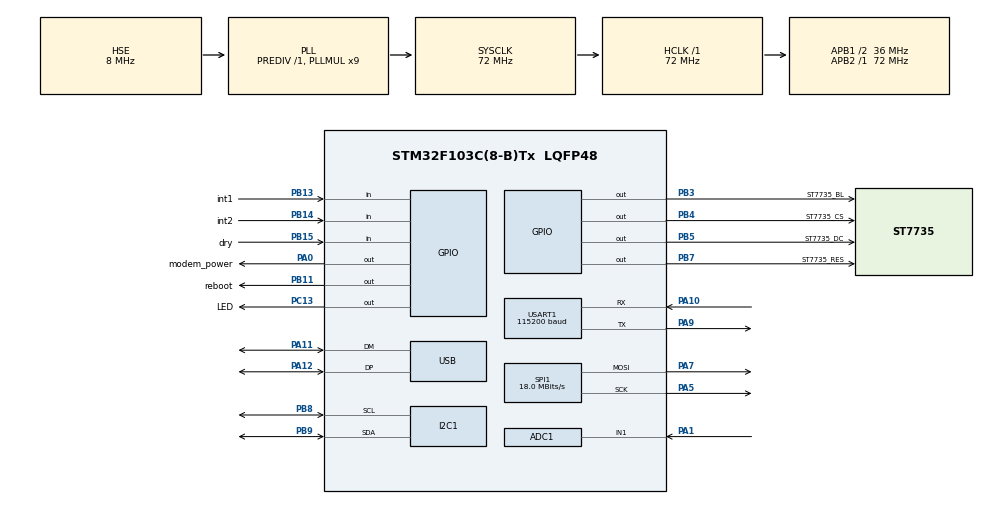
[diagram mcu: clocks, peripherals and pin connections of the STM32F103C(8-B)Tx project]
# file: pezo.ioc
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ADC1.Channel-0\#ChannelRegularConversion=ADC_CHANNEL_1
ADC1.NbrOfConversionFlag=1
ADC1.master=1
Dma.Request0=USART1_RX
Dma.Request1=USART1_TX
Dma.USART1_RX.0.Direction=DMA_PERIPH_TO_MEMORY
Dma.USART1_RX.0.Instance=DMA1_Channel5
Dma.USART1_RX.0.MemDataAlignment=DMA_MDATAALIGN_BYTE
Dma.USART1_RX.0.MemInc=DMA_MINC_ENABLE
Dma.USART1_RX.0.Mode=DMA_NORMAL
Dma.USART1_RX.0.PeriphDataAlignment=DMA_PDATAALIGN_BYTE
Dma.USART1_RX.0.PeriphInc=DMA_PINC_DISABLE
Dma.USART1_RX.0.Priority=DMA_PRIORITY_LOW
Dma.USART1_TX.1.Direction=DMA_MEMORY_TO_PERIPH
Dma.USART1_TX.1.Instance=DMA1_Channel4
Dma.USART1_TX.1.MemDataAlignment=DMA_MDATAALIGN_BYTE
Dma.USART1_TX.1.MemInc=DMA_MINC_ENABLE
Dma.USART1_TX.1.Mode=DMA_NORMAL
Dma.USART1_TX.1.PeriphDataAlignment=DMA_PDATAALIGN_BYTE
Dma.USART1_TX.1.PeriphInc=DMA_PINC_DISABLE
Dma.USART1_TX.1.Priority=DMA_PRIORITY_LOW
Mcu.Family=STM32F1
Mcu.Name=STM32F103C(8-B)Tx
Mcu.Package=LQFP48
NVIC.DMA1_Channel4_IRQn=true\:0\:0\:false\:false\:true\:false\:true\:true
NVIC.DMA1_Channel5_IRQn=true\:0\:0\:false\:false\:true\:false\:true\:true
NVIC.PriorityGroup=NVIC_PRIORITYGROUP_4
NVIC.USART1_IRQn=true\:0\:0\:false\:false\:true\:true\:true\:true
NVIC.USB_LP_CAN1_RX0_IRQn=true\:0\:0\:false\:false\:true\:false\:true\:true
PA0-WKUP.GPIO_Label=modem_power
PA0-WKUP.GPIO_ModeDefaultOutputPP=GPIO_MODE_OUTPUT_OD
PA0-WKUP.GPIO_PuPd=GPIO_NOPULL
PA0-WKUP.Signal=GPIO_Output
PA1.Signal=ADCx_IN1
PA10.Mode=Asynchronous
PA10.Signal=USART1_RX
PA11.Mode=Device
PA11.Signal=USB_DM
PA12.Mode=Device
PA12.Signal=USB_DP
PA13.Mode=Serial_Wire
PA13.Signal=SYS_JTMS-SWDIO
PA14.Mode=Serial_Wire
PA14.Signal=SYS_JTCK-SWCLK
PA5.Mode=TX_Only_Simplex_Unidirect_Master
PA5.Signal=SPI1_SCK
PA7.Mode=TX_Only_Simplex_Unidirect_Master
PA7.Signal=SPI1_MOSI
PA9.Mode=Asynchronous
PA9.Signal=USART1_TX
PB11.GPIO_Label=reboot
PB11.Signal=GPIO_Output
PB13.GPIO_Label=int1
PB13.Signal=GPIO_Input
PB14.GPIO_Label=int2
PB14.Signal=GPIO_Input
PB15.GPIO_Label=dry
PB15.Signal=GPIO_Input
PB3.GPIO_Label=ST7735_BL
PB3.Signal=GPIO_Output
PB4.GPIO_Label=ST7735_CS
PB4.Signal=GPIO_Output
PB5.GPIO_Label=ST7735_DC
PB5.Signal=GPIO_Output
PB7.GPIO_Label=ST7735_RES
PB7.Signal=GPIO_Output
PB8.Mode=I2C
PB8.Signal=I2C1_SCL
PB9.Mode=I2C
PB9.Signal=I2C1_SDA
PC13-TAMPER-RTC.GPIO_Label=LED
PC13-TAMPER-RTC.Signal=GPIO_Output
PC14-OSC32_IN.Mode=LSE-External-Oscillator
PC14-OSC32_IN.Signal=RCC_OSC32_IN
PC15-OSC32_OUT.Mode=LSE-External-Oscillator
PC15-OSC32_OUT.Signal=RCC_OSC32_OUT
PD0-OSC_IN.Mode=HSE-External-Oscillator
PD0-OSC_IN.Signal=RCC_OSC_IN
PD1-OSC_OUT.Mode=HSE-External-Oscillator
PD1-OSC_OUT.Signal=RCC_OSC_OUT
ProjectManager.HeapSize=0x200
ProjectManager.StackSize=0x400
ProjectManager.TargetToolchain=STM32CubeIDE
RCC.ADCPresc=RCC_ADCPCLK2_DIV6
RCC.AHBFreq_Value=72000000
RCC.APB1CLKDivider=RCC_HCLK_DIV2
RCC.APB1Freq_Value=36000000
RCC.APB1TimFreq_Value=72000000
RCC.APB2Freq_Value=72000000
RCC.APB2TimFreq_Value=72000000
RCC.EnbaleCSS=true
RCC.HCLKFreq_Value=72000000
RCC.PLLMUL=RCC_PLL_MUL9
RCC.PLLSourceVirtual=RCC_PLLSOURCE_HSE
RCC.SYSCLKFreq_VALUE=72000000
RCC.SYSCLKSource=RCC_SYSCLKSOURCE_PLLCLK
RCC.USBFreq_Value=48000000
RCC.USBPrescaler=RCC_USBCLKSOURCE_PLL_DIV1_5
SH.ADCx_IN1.0=ADC1_IN1,IN1
SPI1.BaudRatePrescaler=SPI_BAUDRATEPRESCALER_4
SPI1.CalculateBaudRate=18.0 MBits/s
SPI1.Direction=SPI_DIRECTION_2LINES
SPI1.Mode=SPI_MODE_MASTER
SPI1.VirtualType=VM_MASTER
USART1.BaudRate=115200
USART1.VirtualMode=VM_ASYNC
USB_DEVICE.CLASS_NAME_FS=CDC
USB_DEVICE.VirtualMode=Cdc
USB_DEVICE.VirtualModeFS=Cdc_FS
VP_USB_DEVICE_VS_USB_DEVICE_CDC_FS.Mode=CDC_FS
board=custom

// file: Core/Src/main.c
/* USER CODE BEGIN Header */
/**
  ******************************************************************************
  * @file           : main.c
  * @brief          : Main program body
  ******************************************************************************
  * @attention
  *
  * Copyright (c) 2023 STMicroelectronics.
  * All rights reserved.
  *
  * This software is licensed under terms that can be found in the LICENSE file
  * in the root directory of this software component.
  * If no LICENSE file comes with this software, it is provided AS-IS.
  *
  ******************************************************************************
  */
/* USER CODE END Header */
#include "main.h"
#include "usb_device.h"

/* USER CODE BEGIN Includes */
#include "GSM_A6_Driver_STM32F407.h"
#include "st7735.h"
#include "st7735_cfg.h"
#include "fonts.h"
#include <stdio.h>
#include <string.h>
#include "lsm303dlhc.h"
/* USER CODE END Includes */

/* USER CODE BEGIN PD */
#define ADC_CHANNELS_NUM                                         2
/* USER CODE END PD */

 ADC_HandleTypeDef hadc1;

I2C_HandleTypeDef hi2c1;

SPI_HandleTypeDef hspi1;

UART_HandleTypeDef huart1;
DMA_HandleTypeDef hdma_usart1_rx;
DMA_HandleTypeDef hdma_usart1_tx;

/* USER CODE BEGIN PV */
uint16_t adcData[ADC_CHANNELS_NUM];
float adcVoltage[ADC_CHANNELS_NUM];
float min = 0.03;
uint8_t r = 0;
char msg[40];
int16_t xval, yval, zval;
int16_t buffer[3] = {0};
uint8_t buf[8]={0};
char* Message = "WARNING! THE COMPRESSOR IS OFF";
char call_number1 [] = "9969124385";
/* USER CODE END PV */

void SystemClock_Config(void);
static void MX_GPIO_Init(void);
static void MX_DMA_Init(void);
static void MX_ADC1_Init(void);
static void MX_SPI1_Init(void);
static void MX_USART1_UART_Init(void);
static void MX_I2C1_Init(void);

int main(void)
{

  /* MCU Configuration--------------------------------------------------------*/

  /* Reset of all peripherals, Initializes the Flash interface and the Systick. */
  HAL_Init();

  /* Configure the system clock */
  SystemClock_Config();

  /* Initialize all configured peripherals */
  MX_GPIO_Init();
  MX_DMA_Init();
  MX_ADC1_Init();
  MX_SPI1_Init();
  MX_USART1_UART_Init();
  MX_I2C1_Init();
  MX_USB_DEVICE_Init();
  /* USER CODE BEGIN 2 */
  ST7735_Init();
//  HAL_ADC_Start_DMA(&hadc1, (uint32_t*)adcData, ADC_CHANNELS_NUM);
  ST7735_Backlight_On();
  ST7735_FillScreen(ST7735_BLACK);
 // GSM_Init();
  HAL_Delay(1000);
  ST7735_SetRotation(3);
  LSM303DLHC_AccInit(0x1097);
  //GSM_Send_SMS(Message, call_number1);

  /* USER CODE END 2 */

  /* Infinite loop */
  while (1)
  {

    /* USER CODE BEGIN 3 */
//	HAL_ADC_Start_DMA(&hadc1, (uint32_t*)adcData, ADC_CHANNELS_NUM);

//	HAL_GPIO_WritePin(GPIOA, GPIO_PIN_6, GPIO_PIN_SET);
//	HAL_Delay(10000);
//
//	HAL_GPIO_WritePin(GPIOA, GPIO_PIN_6, GPIO_PIN_RESET);
//	HAL_Delay(10000);
	LSM303DLHC_AccReadXYZ(buffer);
	xval=buffer[0];
	yval=buffer[1];
	zval=buffer[2];
	sprintf(msg,"X:%06d Y:%06d Z:%06d", xval, yval, zval);
	ST7735_DrawString(0, 0, msg, Font_11x18, ST7735_YELLOW, ST7735_BLUE);
//	buf2[0]=0x12;
//	buf2[1]=(uint8_t)(xval>>8);
//	buf2[2]=(uint8_t)xval;
//	buf2[3]=(uint8_t)(yval>>8);
//	buf2[4]=(uint8_t)yval;
//	buf2[5]=(uint8_t)(zval>>8);
//	buf2[6]=(uint8_t)zval;
//	buf2[7]=0x13;
	buf[0]=0x11;
	buf[1]=0x55;
	buf[2]=(uint8_t)(xval>>8);
	buf[3]=(uint8_t)xval;
	buf[4]=(uint8_t)(yval>>8);
	buf[5]=(uint8_t)yval;
	buf[6]=(uint8_t)(zval>>8);
	buf[7]=(uint8_t)zval;
	CDC_Transmit_FS(buf, 8);

  }
  /* USER CODE END 3 */
}

void SystemClock_Config(void)
{
  RCC_OscInitTypeDef RCC_OscInitStruct = {0};
  RCC_ClkInitTypeDef RCC_ClkInitStruct = {0};
  RCC_PeriphCLKInitTypeDef PeriphClkInit = {0};

  /** Initializes the RCC Oscillators according to the specified parameters
  * in the RCC_OscInitTypeDef structure.
  */
  RCC_OscInitStruct.OscillatorType = RCC_OSCILLATORTYPE_HSE;
  RCC_OscInitStruct.HSEState = RCC_HSE_ON;
  RCC_OscInitStruct.HSEPredivValue = RCC_HSE_PREDIV_DIV1;
  RCC_OscInitStruct.HSIState = RCC_HSI_ON;
  RCC_OscInitStruct.PLL.PLLState = RCC_PLL_ON;
  RCC_OscInitStruct.PLL.PLLSource = RCC_PLLSOURCE_HSE;
  RCC_OscInitStruct.PLL.PLLMUL = RCC_PLL_MUL9;
  if (HAL_RCC_OscConfig(&RCC_OscInitStruct) != HAL_OK)
  {
    Error_Handler();
  }

  /** Initializes the CPU, AHB and APB buses clocks
  */
  RCC_ClkInitStruct.ClockType = RCC_CLOCKTYPE_HCLK|RCC_CLOCKTYPE_SYSCLK
                              |RCC_CLOCKTYPE_PCLK1|RCC_CLOCKTYPE_PCLK2;
  RCC_ClkInitStruct.SYSCLKSource = RCC_SYSCLKSOURCE_PLLCLK;
  RCC_ClkInitStruct.AHBCLKDivider = RCC_SYSCLK_DIV1;
  RCC_ClkInitStruct.APB1CLKDivider = RCC_HCLK_DIV2;
  RCC_ClkInitStruct.APB2CLKDivider = RCC_HCLK_DIV1;

  if (HAL_RCC_ClockConfig(&RCC_ClkInitStruct, FLASH_LATENCY_2) != HAL_OK)
  {
    Error_Handler();
  }
  PeriphClkInit.PeriphClockSelection = RCC_PERIPHCLK_ADC|RCC_PERIPHCLK_USB;
  PeriphClkInit.AdcClockSelection = RCC_ADCPCLK2_DIV6;
  PeriphClkInit.UsbClockSelection = RCC_USBCLKSOURCE_PLL_DIV1_5;
  if (HAL_RCCEx_PeriphCLKConfig(&PeriphClkInit) != HAL_OK)
  {
    Error_Handler();
  }

  /** Enables the Clock Security System
  */
  HAL_RCC_EnableCSS();
}

static void MX_ADC1_Init(void)
{

  ADC_ChannelConfTypeDef sConfig = {0};

  /** Common config
  */
  hadc1.Instance = ADC1;
  hadc1.Init.ScanConvMode = ADC_SCAN_DISABLE;
  hadc1.Init.ContinuousConvMode = DISABLE;
  hadc1.Init.DiscontinuousConvMode = DISABLE;
  hadc1.Init.ExternalTrigConv = ADC_SOFTWARE_START;
  hadc1.Init.DataAlign = ADC_DATAALIGN_RIGHT;
  hadc1.Init.NbrOfConversion = 1;
  if (HAL_ADC_Init(&hadc1) != HAL_OK)
  {
    Error_Handler();
  }

  /** Configure Regular Channel
  */
  sConfig.Channel = ADC_CHANNEL_1;
  sConfig.Rank = ADC_REGULAR_RANK_1;
  sConfig.SamplingTime = ADC_SAMPLETIME_1CYCLE_5;
  if (HAL_ADC_ConfigChannel(&hadc1, &sConfig) != HAL_OK)
  {
    Error_Handler();
  }

}

static void MX_I2C1_Init(void)
{

  hi2c1.Instance = I2C1;
  hi2c1.Init.ClockSpeed = 100000;
  hi2c1.Init.DutyCycle = I2C_DUTYCYCLE_2;
  hi2c1.Init.OwnAddress1 = 0;
  hi2c1.Init.AddressingMode = I2C_ADDRESSINGMODE_7BIT;
  hi2c1.Init.DualAddressMode = I2C_DUALADDRESS_DISABLE;
  hi2c1.Init.OwnAddress2 = 0;
  hi2c1.Init.GeneralCallMode = I2C_GENERALCALL_DISABLE;
  hi2c1.Init.NoStretchMode = I2C_NOSTRETCH_DISABLE;
  if (HAL_I2C_Init(&hi2c1) != HAL_OK)
  {
    Error_Handler();
  }

}

static void MX_SPI1_Init(void)
{

  /* SPI1 parameter configuration*/
  hspi1.Instance = SPI1;
  hspi1.Init.Mode = SPI_MODE_MASTER;
  hspi1.Init.Direction = SPI_DIRECTION_2LINES;
  hspi1.Init.DataSize = SPI_DATASIZE_8BIT;
  hspi1.Init.CLKPolarity = SPI_POLARITY_LOW;
  hspi1.Init.CLKPhase = SPI_PHASE_1EDGE;
  hspi1.Init.NSS = SPI_NSS_SOFT;
  hspi1.Init.BaudRatePrescaler = SPI_BAUDRATEPRESCALER_4;
  hspi1.Init.FirstBit = SPI_FIRSTBIT_MSB;
  hspi1.Init.TIMode = SPI_TIMODE_DISABLE;
  hspi1.Init.CRCCalculation = SPI_CRCCALCULATION_DISABLE;
  hspi1.Init.CRCPolynomial = 10;
  if (HAL_SPI_Init(&hspi1) != HAL_OK)
  {
    Error_Handler();
  }

}

static void MX_USART1_UART_Init(void)
{

  huart1.Instance = USART1;
  huart1.Init.BaudRate = 115200;
  huart1.Init.WordLength = UART_WORDLENGTH_8B;
  huart1.Init.StopBits = UART_STOPBITS_1;
  huart1.Init.Parity = UART_PARITY_NONE;
  huart1.Init.Mode = UART_MODE_TX_RX;
  huart1.Init.HwFlowCtl = UART_HWCONTROL_NONE;
  huart1.Init.OverSampling = UART_OVERSAMPLING_16;
  if (HAL_UART_Init(&huart1) != HAL_OK)
  {
    Error_Handler();
  }

}

static void MX_DMA_Init(void)
{

  /* DMA controller clock enable */
  __HAL_RCC_DMA1_CLK_ENABLE();

  /* DMA interrupt init */
  /* DMA1_Channel4_IRQn interrupt configuration */
  HAL_NVIC_SetPriority(DMA1_Channel4_IRQn, 0, 0);
  HAL_NVIC_EnableIRQ(DMA1_Channel4_IRQn);
  /* DMA1_Channel5_IRQn interrupt configuration */
  HAL_NVIC_SetPriority(DMA1_Channel5_IRQn, 0, 0);
  HAL_NVIC_EnableIRQ(DMA1_Channel5_IRQn);

}

static void MX_GPIO_Init(void)
{
  GPIO_InitTypeDef GPIO_InitStruct = {0};

  /* GPIO Ports Clock Enable */
  __HAL_RCC_GPIOC_CLK_ENABLE();
  __HAL_RCC_GPIOD_CLK_ENABLE();
  __HAL_RCC_GPIOA_CLK_ENABLE();
  __HAL_RCC_GPIOB_CLK_ENABLE();

  /*Configure GPIO pin Output Level */
  HAL_GPIO_WritePin(LED_GPIO_Port, LED_Pin, GPIO_PIN_RESET);

  /*Configure GPIO pin Output Level */
  HAL_GPIO_WritePin(modem_power_GPIO_Port, modem_power_Pin, GPIO_PIN_RESET);

  /*Configure GPIO pin Output Level */
  HAL_GPIO_WritePin(GPIOB, reboot_Pin|ST7735_BL_Pin|ST7735_CS_Pin|ST7735_DC_Pin
                          |ST7735_RES_Pin, GPIO_PIN_RESET);

  /*Configure GPIO pin : LED_Pin */
  GPIO_InitStruct.Pin = LED_Pin;
  GPIO_InitStruct.Mode = GPIO_MODE_OUTPUT_PP;
  GPIO_InitStruct.Pull = GPIO_NOPULL;
  GPIO_InitStruct.Speed = GPIO_SPEED_FREQ_LOW;
  HAL_GPIO_Init(LED_GPIO_Port, &GPIO_InitStruct);

  /*Configure GPIO pin : modem_power_Pin */
  GPIO_InitStruct.Pin = modem_power_Pin;
  GPIO_InitStruct.Mode = GPIO_MODE_OUTPUT_OD;
  GPIO_InitStruct.Pull = GPIO_NOPULL;
  GPIO_InitStruct.Speed = GPIO_SPEED_FREQ_LOW;
  HAL_GPIO_Init(modem_power_GPIO_Port, &GPIO_InitStruct);

  /*Configure GPIO pins : reboot_Pin ST7735_BL_Pin ST7735_CS_Pin ST7735_DC_Pin
                           ST7735_RES_Pin */
  GPIO_InitStruct.Pin = reboot_Pin|ST7735_BL_Pin|ST7735_CS_Pin|ST7735_DC_Pin
                          |ST7735_RES_Pin;
  GPIO_InitStruct.Mode = GPIO_MODE_OUTPUT_PP;
  GPIO_InitStruct.Pull = GPIO_NOPULL;
  GPIO_InitStruct.Speed = GPIO_SPEED_FREQ_LOW;
  HAL_GPIO_Init(GPIOB, &GPIO_InitStruct);

  /*Configure GPIO pins : int1_Pin int2_Pin dry_Pin */
  GPIO_InitStruct.Pin = int1_Pin|int2_Pin|dry_Pin;
  GPIO_InitStruct.Mode = GPIO_MODE_INPUT;
  GPIO_InitStruct.Pull = GPIO_NOPULL;
  HAL_GPIO_Init(GPIOB, &GPIO_InitStruct);

}

/* USER CODE BEGIN 4 */
/*
void HAL_ADC_ConvCpltCallback(ADC_HandleTypeDef* hadc)
{
  if(hadc->Instance == ADC1)
  {
    for (uint8_t i = 0; i < ADC_CHANNELS_NUM; i++)
    {
      adcVoltage[i] = adcData[i] * 3.3 / 4095;

      if (adcVoltage[i]<min)
      {
    	  HAL_GPIO_WritePin(GPIOC, GPIO_PIN_13, GPIO_PIN_SET);
//    	  GSM_Send_SMS(Message, call_number1);
      }
      else HAL_GPIO_WritePin(GPIOC, GPIO_PIN_13, GPIO_PIN_RESET);
    }
    sprintf(msg, "%f V   %f V", adcVoltage[0], adcVoltage[1]);
    ST7735_DrawString(20, 30, msg, Font_11x18, ST7735_CYAN, ST7735_BLACK);
  }
}
*/
/* USER CODE END 4 */

void Error_Handler(void)
{
  __disable_irq();
  while (1)
  {
  }
}
